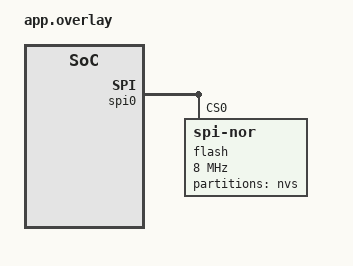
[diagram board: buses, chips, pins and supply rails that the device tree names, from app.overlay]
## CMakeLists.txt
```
cmake_minimum_required(VERSION 3.20.0)
find_package(Zephyr REQUIRED HINTS $ENV{ZEPHYR_BASE})
project(zephyr_spi)

target_sources(app PRIVATE src/main.c)
```

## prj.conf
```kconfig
CONFIG_SYS_CLOCK_TICKS_PER_SEC=1000
CONFIG_BOOT_BANNER=n
CONFIG_SPI=y
CONFIG_FLASH=y
CONFIG_FLASH_MAP=y
CONFIG_FLASH_PAGE_LAYOUT=y
CONFIG_FLASH_JESD216_API=y
# Erase pages of a sector (the default is a 64 KiB block), for NVS.
CONFIG_SPI_NOR_FLASH_LAYOUT_PAGE_SIZE=4096
# Small frames: longer transfers are split, within one transaction.
CONFIG_COSTAR_SPI_FRAME_SIZE=64
```

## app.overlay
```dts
/*
 * A SPI NOR flash on the costar shield's SPI controller, spi0 (the board's
 * channel "spi0", IRQ 13), with Zephyr's own driver.  The scenario's spi-nor
 * model answers for it, on chip select 0.
 */
&spi0 {
	flash: flash@0 {
		compatible = "jedec,spi-nor";
		reg = <0>;
		spi-max-frequency = <8000000>;
		size = <0x800000>; /* bits: 1 MiB */
		jedec-id = [ef 40 14];

		partitions {
			compatible = "fixed-partitions";
			#address-cells = <1>;
			#size-cells = <1>;

			nvs_partition: partition@0 {
				label = "nvs";
				reg = <0x0 0x2000>;
			};
		};
	};
};
```

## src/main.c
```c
/*
 * An ordinary Zephyr application with a SPI NOR flash (see app.overlay),
 * driven by Zephyr's own jedec,spi-nor driver on costar's SPI controller.
 * On the host, the scenario's spi-nor model answers for the flash, whose
 * contents are a memory device of a passive board.
 *
 * Built as it is, the app checks the flash API: an erase, a write across a
 * page boundary read back (in frames of 64 bytes:
 * CONFIG_COSTAR_SPI_FRAME_SIZE), a write over written bits (NOR flash only
 * clears bits) and a 64 KiB block erase.  It also reads the JEDEC ID itself,
 * with the SPI API, in a transaction that spans two transceives (the chip
 * select held between them).
 *
 * Built with CONFIG_NVS, it counts its boots in NVS on the flash's first
 * two sectors instead: the flash outlives the MCU's reboots.
 */
#include <string.h>

#include <zephyr/device.h>
#include <zephyr/drivers/flash.h>
#include <zephyr/drivers/spi.h>
#include <zephyr/kernel.h>
#include <zephyr/kvss/nvs.h>
#include <zephyr/storage/flash_map.h>
#include <zephyr/sys/printk.h>

#define SECTOR 4096
#define CHECKED 0x10000
#define BLOCK 0x20000

static const struct device *const flash = DEVICE_DT_GET(DT_NODELABEL(flash));

#ifdef CONFIG_NVS

static void count_boot(void)
{
	struct nvs_fs fs = {
		.flash_device = flash,
		.offset = PARTITION_OFFSET(nvs_partition),
		.sector_size = SECTOR,
		.sector_count = PARTITION_SIZE(nvs_partition) / SECTOR,
	};
	uint32_t boots = 0;
	int ret = nvs_mount(&fs);

	if (ret != 0) {
		printk("nvs_mount: %d\n", ret);
		return;
	}
	if (nvs_read(&fs, 1, &boots, sizeof(boots)) != sizeof(boots)) {
		boots = 0;
	}
	boots++;
	ret = nvs_write(&fs, 1, &boots, sizeof(boots));
	printk("boot %u (nvs_write %d)\n", boots, ret);
}

#else

static const struct spi_dt_spec flash_spi =
	SPI_DT_SPEC_GET(DT_NODELABEL(flash), SPI_WORD_SET(8) | SPI_HOLD_ON_CS | SPI_LOCK_ON);

static void read_id(void)
{
	uint8_t command = 0x9f; /* read JEDEC ID */
	uint8_t id[3] = {0};
	const struct spi_buf tx = {.buf = &command, .len = 1};
	const struct spi_buf rx = {.buf = id, .len = sizeof(id)};
	const struct spi_buf_set tx_set = {.buffers = &tx, .count = 1};
	const struct spi_buf_set rx_set = {.buffers = &rx, .count = 1};
	int ret = spi_write_dt(&flash_spi, &tx_set);

	if (ret == 0) {
		ret = spi_read_dt(&flash_spi, &rx_set);
	}
	spi_release_dt(&flash_spi);
	printk("JEDEC ID by hand %02x %02x %02x (%d)\n", id[0], id[1], id[2], ret);
}

static void check_flash(void)
{
	uint8_t data[100];
	uint8_t back[sizeof(data)];
	uint8_t byte;
	uint32_t start;
	int ret;

	for (size_t i = 0; i < sizeof(data); i++) {
		data[i] = (uint8_t)(i * 7);
	}
	start = k_uptime_get_32();
	ret = flash_erase(flash, CHECKED, SECTOR);
	printk("erased a sector (%d) in %u ms\n", ret, k_uptime_get_32() - start);
	ret = flash_write(flash, CHECKED + 200, data, sizeof(data));
	memset(back, 0, sizeof(back));
	flash_read(flash, CHECKED + 200, back, sizeof(back));
	printk("wrote %zu bytes across a page (%d): %s\n", sizeof(data), ret,
	       memcmp(data, back, sizeof(data)) == 0 ? "read back" : "different");

	byte = 0xf0;
	flash_write(flash, CHECKED, &byte, 1);
	byte = 0x0f;
	flash_write(flash, CHECKED, &byte, 1);
	flash_read(flash, CHECKED, &byte, 1);
	printk("0xf0, then 0x0f over it: 0x%02x\n", byte);

	start = k_uptime_get_32();
	ret = flash_erase(flash, BLOCK, 0x10000);
	flash_read(flash, BLOCK + 0x8000, &byte, 1);
	printk("erased a block (%d) in %u ms: 0x%02x\n", ret, k_uptime_get_32() - start, byte);
}

#endif

int main(void)
{
	uint8_t id[3] = {0};

	flash_read_jedec_id(flash, id);
	printk("flash ready %d, JEDEC ID %02x %02x %02x\n", device_is_ready(flash), id[0], id[1], id[2]);
#ifdef CONFIG_NVS
	count_boot();
#else
	read_id();
	check_flash();
#endif
	return 0;
}
```
